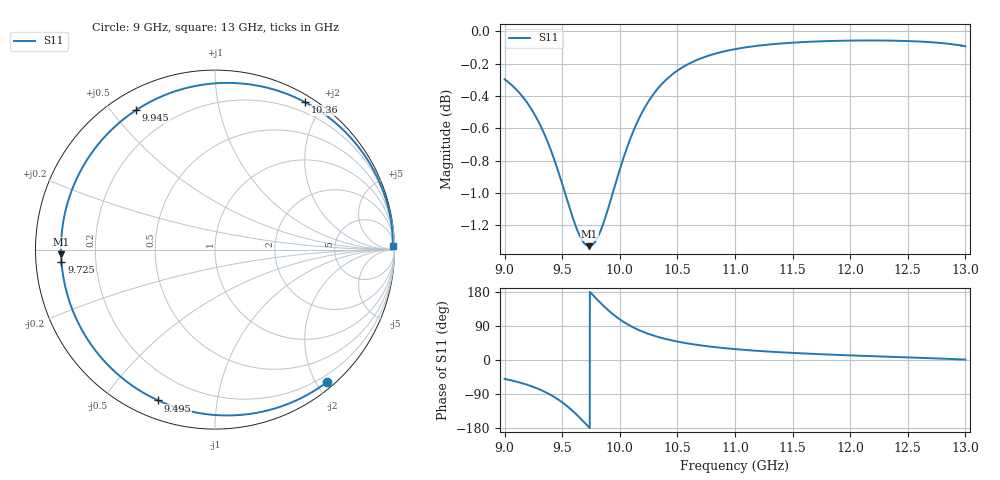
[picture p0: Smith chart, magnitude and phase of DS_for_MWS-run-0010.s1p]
! TOUCHSTONE file generated by CST DESIGN STUDIO
! Date and time: Wed Feb  5 13:45:19 2025
! Project name: C:\Work\MatlabApps\UnitCellOptimizationMatlab\CST\unitcell.cst
! Tree item: Tasks\Sweep1\SPara1\S-Parameters
! Header version: 2024
! Port assignment regex: !\s*Touchstone port\s*([0-9]+)\s*=\s*(CST MWS port|CST DES external port|CST DES block port)\s*(.+)\s* \(\"(.*)\"\)(\s*mode\s*([0-9]+))?.*
! Touchstone port assignment:
! Touchstone port 1 = CST DES external port 1 ("")
# GHz S MA R 50
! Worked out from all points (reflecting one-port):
!   4001 points, 9 GHz to 13 GHz, reference 50 ohm
!   lowest |S11| = -1.3 dB at 9.734 GHz (marker M1), VSWR 13.09, Z = 3.82 - j0.762 ohm
!   phase of S11 starts at -50 deg and turns -309 deg over the sweep
!   S11 on the Smith chart (normalised r, x): 9 GHz: 0.10, -2.15; 9.495 GHz: 0.08, -0.69; 9.725 GHz: 0.08, -0.04; 9.945 GHz: 0.08, +0.58; 10.36 GHz: 0.08, +1.78; 13 GHz: 41, +77
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9  0.9664 -49.9
9.136  0.9564 -59.9
9.263  0.9421 -72.6
9.394  0.9203 -91.1
9.447  0.9091 -100.7
9.495  0.8981 -110.6
9.5  0.8969 -111.7
9.554  0.8841 -124.6
9.607  0.8724 -138.9
9.669  0.8621 -157.5
9.725  0.8581 -175.3
9.734  0.8581 -178.2
9.778  0.86 167.5
9.825  0.8661 152.8
9.886  0.8784 135.0
9.945  0.8927 119.6
10  0.9062 107.1
10.079  0.9238 92.1
10.174  0.9409 77.9
10.262  0.9528 67.6
10.358  0.9625 58.7
10.5  0.9723 48.6
10.718  0.9813 37.9
11  0.9873 28.7
11.5  0.9919 18.7
12  0.9933 12.1
12.5  0.993 6.8
13  0.9893 1.2
